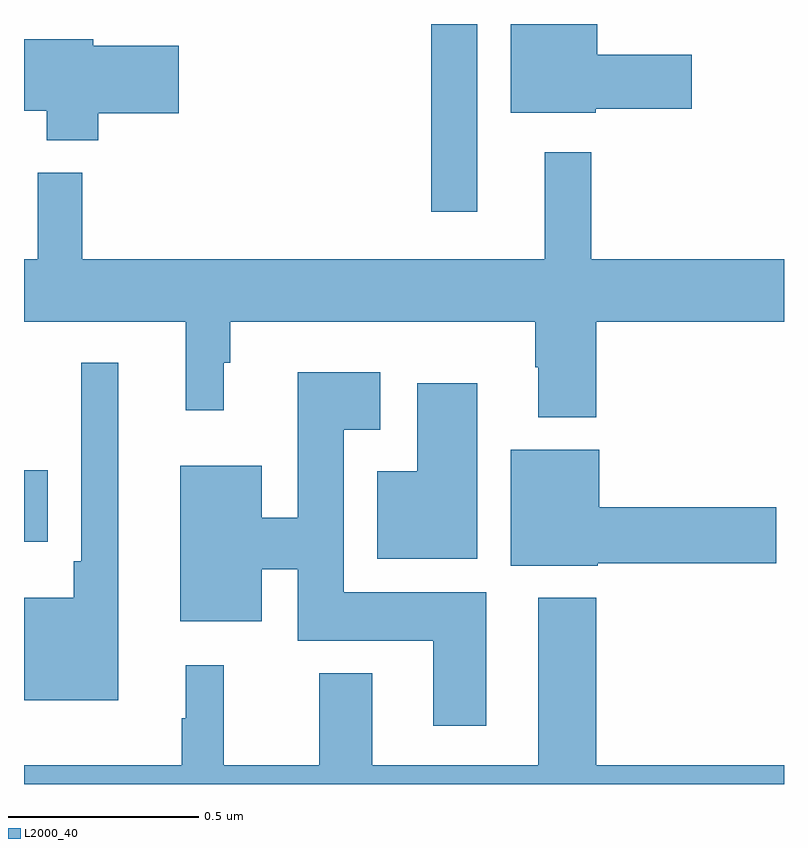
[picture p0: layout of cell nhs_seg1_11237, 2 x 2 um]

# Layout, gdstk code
import gdstk
lib = gdstk.Library(unit=1e-6, precision=1e-09)
def R(c, l, rs):  # rectangles x0, y0, x1, y1
    for r in rs: c.add(gdstk.rectangle(r[:2], r[2:], *l))
def P(c, l, *ps):  # polygons
    for p in ps: c.add(gdstk.Polygon(p, *l))
L2000_40 = (2000, 40)

nhs_seg1_11237 = lib.new_cell('nhs_seg1_11237')
R(nhs_seg1_11237, L2000_40, [(251,533.837,251.062,534.025), (252.072,534.705,252.193,535.199)])
P(nhs_seg1_11237, L2000_40, [(252.504,534.976),(252.757,534.976),(252.757,535.118),(252.508,535.118),(252.508,535.199),(252.281,535.199),(252.281,534.965),(252.504,534.965)],
  [(251.195,534.964),(251.407,534.964),(251.407,535.142),(251.182,535.142),(251.182,535.159),(251,535.159),(251,534.971),(251.06,534.971),(251.06,534.893),(251.195,534.893)],
  [(252.506,534.416),(253,534.416),(253,534.58),(252.493,534.58),(252.493,534.862),(252.371,534.862),(252.371,534.58),(251.153,534.58),(251.153,534.808),(251.036,534.808),(251.036,534.58),(251,534.58),(251,534.416),(251.426,534.416),(251.426,534.183),(251.525,534.183),(251.525,534.308),(251.543,534.308),(251.543,534.416),(252.346,534.416),(252.346,534.296),(252.353,534.296),(252.353,534.164),(252.506,534.164)],
  [(251.248,534.307),(251.151,534.307),(251.151,533.785),(251.131,533.785),(251.131,533.689),(251,533.689),(251,533.42),(251.248,533.42)],
  [(252.217,533.704),(251.842,533.704),(251.842,534.131),(251.938,534.131),(251.938,534.283),(251.72,534.283),(251.72,533.9),(251.626,533.9),(251.626,534.037),(251.411,534.037),(251.411,533.627),(251.626,533.627),(251.626,533.764),(251.72,533.764),(251.72,533.576),(252.077,533.576),(252.077,533.352),(252.217,533.352)],
  [(252.193,534.253),(252.035,534.253),(252.035,534.022),(251.93,534.022),(251.93,533.792),(252.193,533.792)],
  [(252.51,533.78),(252.979,533.78),(252.979,533.927),(252.514,533.927),(252.514,534.079),(252.281,534.079),(252.281,533.774),(252.51,533.774)],
  [(253,533.248),(252.506,533.248),(252.506,533.689),(252.353,533.689),(252.353,533.248),(251.917,533.248),(251.917,533.491),(251.777,533.491),(251.777,533.248),(251.526,533.248),(251.526,533.512),(251.426,533.512),(251.426,533.372),(251.415,533.372),(251.415,533.248),(251,533.248),(251,533.199),(253,533.199)])

lib.write_gds('nhs_seg1_11237.gds')
